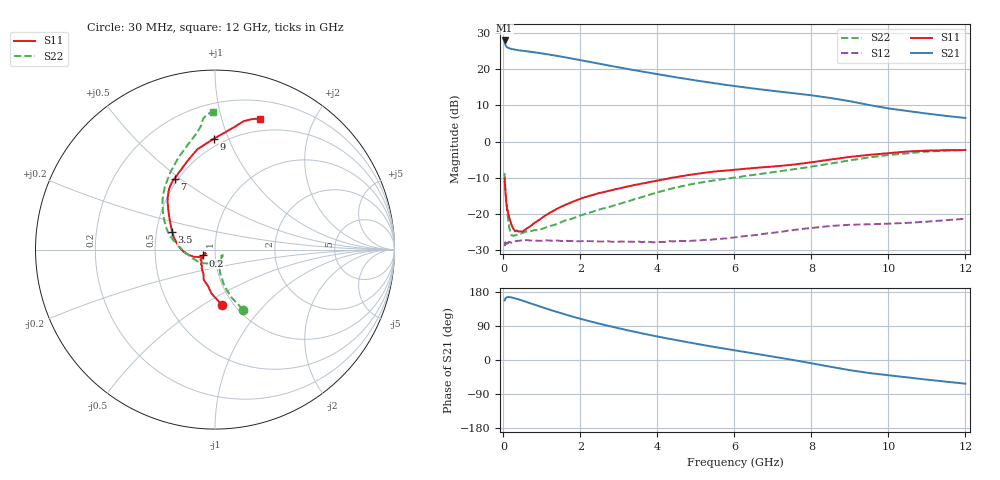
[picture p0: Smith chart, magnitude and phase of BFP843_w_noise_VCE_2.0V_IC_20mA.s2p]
! Infineon Technologies  Discrete & RF Semiconductors
! BFP843
! VCE =  2.0 V,  IC =  20 mA
! Common Emitter S-Parameters:  Aug 2013
# GHz  S  MA  R  50
!  f  S11  S21  S12  S22
! GHz  MAG  ANG  MAG  ANG  MAG  ANG  MAG  ANG
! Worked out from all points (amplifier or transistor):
!   103 points, 30 MHz to 12 GHz, reference 50 ohm
!   highest |S21| = 27.9 dB at 30 MHz (marker M1)
!   |S21| within 3 dB of that: start of sweep to 611.5 MHz
!   unconditionally stable (mu >= 1): 105.1 MHz to 10.76 GHz
!   at 400 MHz: K = 1.02, MAG = 25.4 dB, |S12| = -27.4 dB
!   at 3.7 GHz: K = 1.37, MAG = 19.8 dB, |S12| = -27.5 dB
!   at 12 GHz: K = 0.85, MSG = 13.9 dB, |S12| = -21.3 dB
!   lowest NFmin = 1.04 dB at 450 MHz
!   S11 on the Smith chart (normalised r, x): 30 MHz: 0.89, -0.60; 200 MHz: 0.88, -0.06; 3.5 GHz: 0.60, +0.13; 7 GHz: 0.48, +0.48; 9 GHz: 0.44, +0.88; 12 GHz: 0.38, +1.33
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0.03  0.3101 -82.9  24.97 157.3  0.0362 28.2  0.3684 -65.0
0.04  0.2459 -94.5  22.96 159.3  0.038 19.9  0.2822 -71.0
0.05  0.2075 -100.7  21.9 162.2  0.041 20.2  0.231 -73.9
0.07  0.1494 -115.5  20.64 164.4  0.0398 15.3  0.1596 -76.3
0.1  0.1134 -129.5  19.98 165.9  0.0414 9.7  0.1038 -76.5
0.13  0.0982 -140.4  19.72 166.4  0.041 9.4  0.0748 -72.9
0.2  0.0733 -153.5  19.08 165.3  0.0404 6.6  0.0518 -56.6
0.8  0.0755 -151.1  17.14 146.3  0.0434 0.7  0.0603 -57.6
1.2  0.1045 -156.1  15.91 132.8  0.0433 0.3  0.0683 -85.5
1.6  0.1341 -164.4  14.63 120.3  0.043 -0.3  0.0819 -108.3
2.1  0.1707 -174.8  13.04 106.0  0.0428 -1.4  0.1 -130.9
2.7  0.208 172.8  11.36 90.7  0.0424 -0.5  0.1233 -152.4
3.2  0.2396 163.2  10.16 79.0  0.0418 0.5  0.1489 -167.5
3.5  0.2579 157.8  9.518 72.5  0.042 1.0  0.166 -174.5
4.1  0.298 147.5  8.381 60.0  0.0412 2.5  0.2068 173.6
5  0.359 136.9  7.014 43.0  0.0433 5.7  0.266 162.1
6.1  0.4145 128.7  5.777 24.0  0.0484 10.4  0.3252 150.1
7  0.4543 119.7  5.035 8.9  0.0554 9.8  0.3804 140.3
8.5  0.5681 99.9  4.011 -17.9  0.0688 2.4  0.4991 119.7
9  0.6171 90.7  3.625 -26.9  0.0715 -0.9  0.5537 111.4
10.5  0.7335 77.4  2.652 -46.0  0.0759 -8.2  0.693 96.5
12  0.7677 71.1  2.127 -62.5  0.0865 -14.6  0.7681 91.0
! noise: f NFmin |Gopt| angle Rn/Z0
0.45  1.04  0.12  -173  0.04
0.9  1.05  0.12  -165  0.07
1.5  1.06  0.13  -157  0.15
1.9  1.08  0.13  -147  0.21
2.4  1.11  0.12  -135  0.27
3.5  1.15  0.11  -117  0.32
5.5  1.25  0.25  -110  0.41
10  1.83  0.52  -61  0.54
